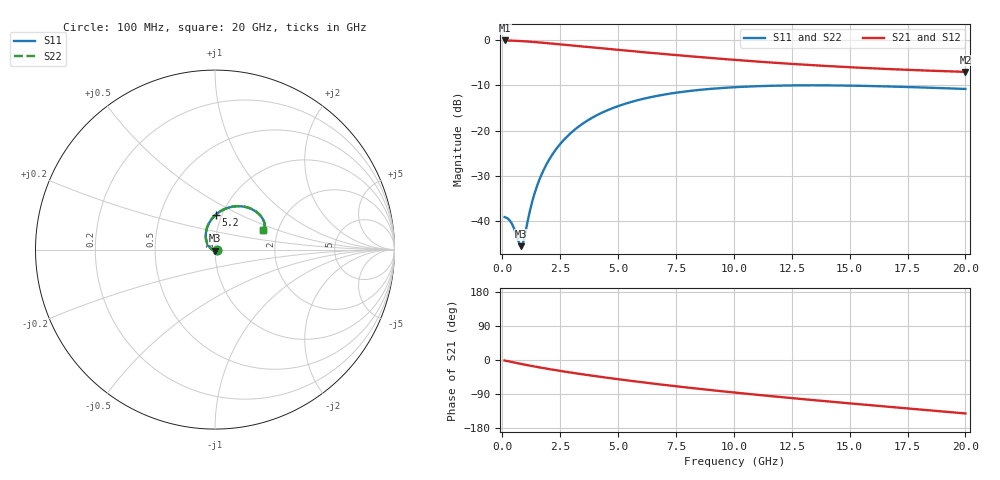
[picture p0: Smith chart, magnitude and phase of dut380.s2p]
! Touchstone file exported from HFSS 2024.1.0
!  File:  C:/UserFiles/LocalFiles/RDL_TSV_Batchsim/temp_RDL_TSV_380_1779644914.aedt
!  Generated:  02:04:58 AM May 25, 2026
!  Design:  RDL_TSV
!  Project:  temp_RDL_TSV_380_1779644914
!  Setup:  Setup1
!  Solution:  Sweep
! Variables:
!  dtsv = 9.32um
!  hbump = 3um
!  htsv = 79.13um
!  ldown = 410.59um
!  lrdl = 130.88um
!  p = 40
!  p1 = 46.4um
!  rhole = 10um
!  subl = 1755.29um
!  t = 450um
!  tdown = 4.22um
!  trdl = 2.19um
!  viad = 10um
!  wdown = 17.93um
!  wrdl = 19.33um
!  xbump = 18um
# GHz S MA R 50.000000
! Terminal data exported
! Port[1] = TM1_1_T1
! Port[2] = TM1_4_T1
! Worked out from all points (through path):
!   200 points, 100 MHz to 20 GHz, reference 50 ohm
!   highest |S21| = -0.10 dB at 100 MHz (marker M1); lowest = -7.0 dB at 20 GHz (marker M2)
!   group delay of S21, straight-line fit = 18.5 ps
!   lowest |S11| = -45.5 dB at 800 MHz (marker M3), VSWR 1.01, Z = 50 - j0.532 ohm
!   |S11| at or under -10 dB: start of sweep to 13.06 GHz; 13.73 GHz to end of sweep
!   |S22| runs from -45.5 to -10.0 dB; largest |S21 - S12| = 1.4e-14
!   S11 on the Smith chart (normalised r, x): 100 MHz: 1.02, -0.00; 5.2 GHz: 0.93, +0.38; 20 GHz: 1.68, +0.39
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0.1  0.01115 -4.2  0.9884 -1.3  0.9884 -1.3  0.01115 -4.2
! Gamma 0 0 0 0
! Port Impedance 50 0 50 0
0.3  0.01038 -15.0  0.9859 -3.9  0.9859 -3.9  0.01038 -15.0
0.4  0.00956 -22.4  0.9841 -5.2  0.9841 -5.2  0.009553 -22.4
0.7  0.005984 -63.6  0.9765 -9.0  0.9765 -9.0  0.005967 -63.7
0.8  0.005323 -91.2  0.9733 -10.2  0.9733 -10.2  0.00531 -91.4
0.9  0.005826 -122.5  0.9699 -11.4  0.9699 -11.4  0.005826 -122.9
1.2  0.01328 -174.6  0.9581 -15.0  0.9581 -15.0  0.01332 -174.7
1.4  0.02052 170.9  0.9492 -17.2  0.9492 -17.2  0.02058 170.8
1.6  0.02868 161.0  0.9398 -19.5  0.9398 -19.5  0.02876 160.9
1.8  0.0375 153.2  0.93 -21.6  0.93 -21.6  0.0376 153.2
2.1  0.05158 143.7  0.9149 -24.8  0.9149 -24.8  0.0517 143.7
2.5  0.07126 133.3  0.8945 -28.8  0.8945 -28.8  0.07143 133.2
3  0.09629 122.4  0.8694 -33.5  0.8694 -33.5  0.09651 122.3
3.5  0.1208 113.1  0.8452 -38.1  0.8452 -38.1  0.1211 113.0
4.3  0.1576 100.5  0.8084 -44.9  0.8084 -44.9  0.158 100.5
5.2  0.1941 88.8  0.7697 -52.2  0.7697 -52.2  0.1945 88.8
6.8  0.2451 72.3  0.7071 -64.3  0.7071 -64.3  0.2456 72.3
8.3  0.278 60.3  0.6552 -74.8  0.6552 -74.8  0.2786 60.4
10.1  0.3022 49.1  0.6019 -86.3  0.6019 -86.3  0.3028 49.1
13.4  0.3163 34.5  0.5276 -105.6  0.5276 -105.6  0.317 34.5
16.7  0.3072 25.6  0.4779 -123.6  0.4779 -123.6  0.3079 25.7
20  0.2885 21.7  0.4452 -141.1  0.4452 -141.1  0.289 21.8
